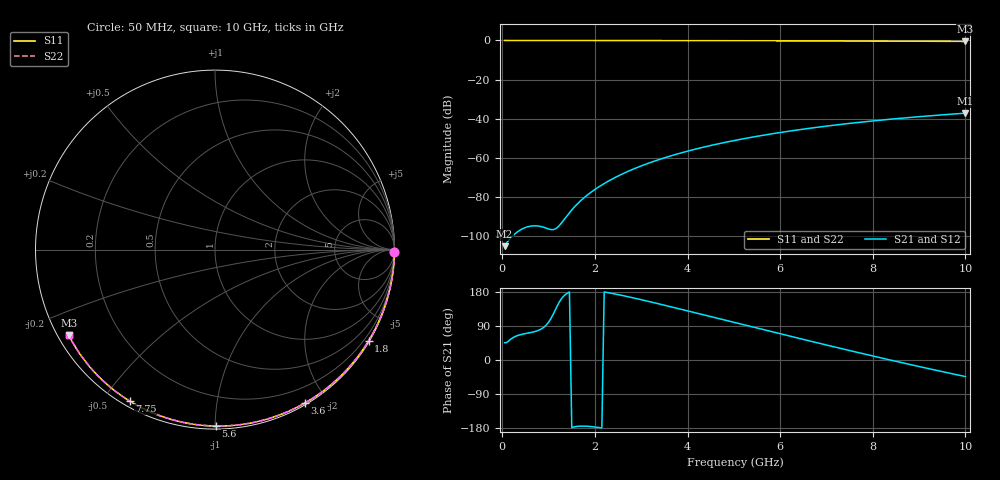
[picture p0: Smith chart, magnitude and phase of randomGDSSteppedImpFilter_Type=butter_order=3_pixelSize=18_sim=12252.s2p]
! freq	dB(S11)	phase(S11)	dB(S12)	phase(S12)
!  dB(S21)	phase(S21)	dB(S22)	phase(S22)
!S-par simulation data
#  GHz  S  DB  R 50
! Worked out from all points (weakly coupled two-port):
!   200 points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, 50 MHz to 10 GHz, reference 50 ohm
!   highest |S21| = -37.19 dB at 10 GHz (marker M1); lowest = -105.2 dB at 50 MHz (marker M2)
!   lowest |S11| = -0.5 dB at 10 GHz (marker M3), VSWR 34.83, Z = 1.54 - j13.6 ohm
!   |S11| at or under -10 dB: nowhere
!   |S22| runs from -0.5 to 0.0 dB; largest |S21 - S12| = 0
!   S11 on the Smith chart (normalised r, x): 50 MHz: open; 1.8 GHz: 0.03, -3.65; 3.6 GHz: 0.02, -1.74; 5.6 GHz: 0.02, -1.00; 7.75 GHz: 0.02, -0.58; 10 GHz: 0.03, -0.27
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0.05  -0.00 -0.9  -105.23 45.5  -105.23 45.5  -0.00 -0.9
0.45  -0.01 -7.8  -96.17 68.5  -96.17 68.5  -0.01 -7.8
0.9  -0.02 -15.5  -95.61 86.7  -95.61 86.7  -0.02 -15.5
1.3  -0.03 -22.3  -92.67 165.2  -92.67 165.2  -0.03 -22.3
1.75  -0.04 -29.8  -80.78 -174.5  -80.78 -174.5  -0.04 -29.8
1.8  -0.04 -30.7  -79.77 -174.6  -79.77 -174.6  -0.04 -30.7
1.95  -0.04 -33.2  -77.04 -176.1  -77.04 -176.1  -0.04 -33.2
2.1  -0.05 -35.6  -74.65 -178.5  -74.65 -178.5  -0.05 -35.6
2.3  -0.05 -38.9  -71.83 177.4  -71.83 177.4  -0.05 -38.9
2.5  -0.05 -42.2  -69.34 172.6  -69.34 172.6  -0.05 -42.2
2.9  -0.06 -48.7  -65.11 162.0  -65.11 162.0  -0.06 -48.7
3.4  -0.08 -56.6  -60.80 147.6  -60.80 147.6  -0.08 -56.6
3.6  -0.08 -59.8  -59.31 141.7  -59.31 141.7  -0.08 -59.8
4.3  -0.10 -70.6  -54.84 120.6  -54.84 120.6  -0.10 -70.6
5.05  -0.13 -81.7  -50.99 97.8  -50.99 97.8  -0.13 -81.8
5.6  -0.15 -89.7  -48.63 81.2  -48.63 81.2  -0.15 -89.7
6.15  -0.17 -97.5  -46.56 64.7  -46.56 64.7  -0.17 -97.5
6.7  -0.20 -105.2  -44.73 48.4  -44.73 48.4  -0.20 -105.2
7.75  -0.28 -119.5  -41.77 17.8  -41.77 17.8  -0.28 -119.5
8.35  -0.33 -127.5  -40.36 0.7  -40.36 0.7  -0.33 -127.5
9.2  -0.41 -138.8  -38.61 -22.6  -38.61 -22.6  -0.41 -138.8
10  -0.50 -149.6  -37.19 -43.7  -37.19 -43.7  -0.50 -149.6
